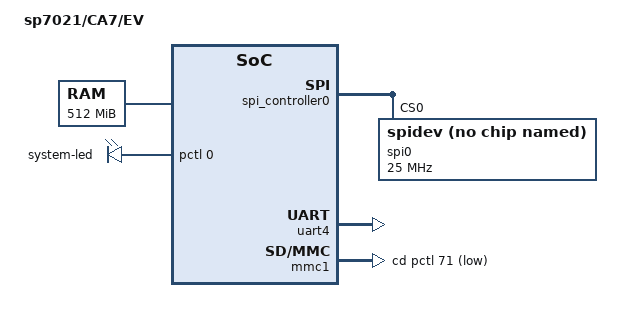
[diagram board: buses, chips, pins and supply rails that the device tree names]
/dts-v1/;

#include "sp7021-ChipC.dtsi"

/ {
	model = "sp7021/CA7/EV";

	chosen {
		bootargs = "console=ttyS0,115200 root=/dev/ram rw loglevel=8 user_debug=255 earlyprintk";
		stdout-path = "serial0:115200n8";
	};

	memory {
		reg = <0x00000000 0x20000000>; /* 512MB */
	};

	soc@B {
		led {
			compatible = "gpio-leds";
			pinctrl-names = "default";
			pinctrl-0 = <&gpio_leds_pins>;
			system-led {
				label = "system-led";
				gpios = <&pctl 0 GPIO_ACTIVE_HIGH>;
				default-state = "off";
				linux,default-trigger = "heartbeat";
			};
		};
	};
};

&i2cm0 {
	pinctrl-names = "default";
	pinctrl-0 = <&i2cm0_pins>;
};

&spi_controller0 {
	pinctrl-names = "default";
	pinctrl-0 = <&pins_spim0>;
	spi0: spi@ {
		compatible = "rohm,dh2228fv";
		reg = <0x0>;
		spi-max-frequency = <25000000>;
	};
};

&uart4 {
	pinctrl-names = "default";
	pinctrl-0 = <&pins_uart4>;
	status = "okay";
};

&sdio {
	pinctrl-names = "default";
	pinctrl-0 = <&pins_sdio>;
};

&l2sw {
	pinctrl-names = "default";
	pinctrl-0 = <&l2sw_two_phy_pins>;
};

&mmc0 {
	pinctrl-names = "default";
	pinctrl-0 = <&emmc_mux>;
};

&mmc1 {
	pinctrl-names = "default";
	pinctrl-0 = <&mmc1_mux &mmc1_mux_cd>;
	cd-gpios = <&pctl 71 GPIO_ACTIVE_LOW>;
	broken-cd;
};

&mipicsi0 {
	pinctrl-names = "default";
	pinctrl-0 = <&mipicsi0_pins>;
};

&pctl {
	pinctrl-names = "default";

	i2cm0_pins: i2cm0_pins {
		sppctl,pins = <
			SP7021_IOPAD(14,SP7021_PCTL_G_PMUX,MUXF_I2CM0_CLK,0)
			SP7021_IOPAD(15,SP7021_PCTL_G_PMUX,MUXF_I2CM0_DAT,0)
		>;
	};

	pins_spim0: pins_spim0 {
		sppctl,pins = <
			SP7021_IOPAD(8,SP7021_PCTL_G_PMUX,MUXF_SPIM0_INT,0)
			SP7021_IOPAD(9,SP7021_PCTL_G_PMUX,MUXF_SPIM0_CLK,0)
			SP7021_IOPAD(10,SP7021_PCTL_G_PMUX,MUXF_SPIM0_EN,0)
			SP7021_IOPAD(11,SP7021_PCTL_G_PMUX,MUXF_SPIM0_DO,0)
			SP7021_IOPAD(12,SP7021_PCTL_G_PMUX,MUXF_SPIM0_DI,0)
		>;
	};

	pins_uart4: pins_uart4 {
		sppctl,pins = <
			SP7021_IOPAD(16,SP7021_PCTL_G_PMUX,MUXF_UA4_TX,0)
			SP7021_IOPAD(18,SP7021_PCTL_G_PMUX,MUXF_UA4_RX,0)
			SP7021_IOPAD(20,SP7021_PCTL_G_PMUX,MUXF_UA4_RTS,0)
			SP7021_IOPAD(22,SP7021_PCTL_G_PMUX,MUXF_UA4_CTS,0)
		>;
	};

	l2sw_two_phy_pins: pinmux_l2sw_two_phy_pins {
		sppctl,pins = <
			SP7021_IOPAD(47,SP7021_PCTL_G_PMUX,MUXF_L2SW_CLK_OUT,0)
			SP7021_IOPAD(41,SP7021_PCTL_G_PMUX,MUXF_L2SW_MAC_SMI_MDC,0)
			SP7021_IOPAD(42,SP7021_PCTL_G_PMUX,MUXF_L2SW_LED_FLASH0,0)
			SP7021_IOPAD(30,SP7021_PCTL_G_PMUX,MUXF_L2SW_LED_FLASH1,0)
			SP7021_IOPAD(51,SP7021_PCTL_G_PMUX,MUXF_L2SW_LED_ON0,0)
			SP7021_IOPAD(39,SP7021_PCTL_G_PMUX,MUXF_L2SW_LED_ON1,0)
			SP7021_IOPAD(40,SP7021_PCTL_G_PMUX,MUXF_L2SW_MAC_SMI_MDIO,0)
			SP7021_IOPAD(50,SP7021_PCTL_G_PMUX,MUXF_L2SW_P0_MAC_RMII_TXEN,0)
			SP7021_IOPAD(48,SP7021_PCTL_G_PMUX,MUXF_L2SW_P0_MAC_RMII_TXD0,0)
			SP7021_IOPAD(49,SP7021_PCTL_G_PMUX,MUXF_L2SW_P0_MAC_RMII_TXD1,0)
			SP7021_IOPAD(44,SP7021_PCTL_G_PMUX,MUXF_L2SW_P0_MAC_RMII_CRSDV,0)
			SP7021_IOPAD(45,SP7021_PCTL_G_PMUX,MUXF_L2SW_P0_MAC_RMII_RXD0,0)
			SP7021_IOPAD(46,SP7021_PCTL_G_PMUX,MUXF_L2SW_P0_MAC_RMII_RXD1,0)
			SP7021_IOPAD(43,SP7021_PCTL_G_PMUX,MUXF_L2SW_P0_MAC_RMII_RXER,0)
			SP7021_IOPAD(38,SP7021_PCTL_G_PMUX,MUXF_L2SW_P1_MAC_RMII_TXEN,0)
			SP7021_IOPAD(36,SP7021_PCTL_G_PMUX,MUXF_L2SW_P1_MAC_RMII_TXD0,0)
			SP7021_IOPAD(37,SP7021_PCTL_G_PMUX,MUXF_L2SW_P1_MAC_RMII_TXD1,0)
			SP7021_IOPAD(32,SP7021_PCTL_G_PMUX,MUXF_L2SW_P1_MAC_RMII_CRSDV,0)
			SP7021_IOPAD(33,SP7021_PCTL_G_PMUX,MUXF_L2SW_P1_MAC_RMII_RXD0,0)
			SP7021_IOPAD(34,SP7021_PCTL_G_PMUX,MUXF_L2SW_P1_MAC_RMII_RXD1,0)
			SP7021_IOPAD(31,SP7021_PCTL_G_PMUX,MUXF_L2SW_P1_MAC_RMII_RXER,0)
		>;
		sppctl,zero_func = <
			MUXF_DAISY_MODE
		>;
	};

	l2sw_one_phy_pins: pinmux_l2sw_one_phy_pins {
		sppctl,pins = <
			SP7021_IOPAD(47,SP7021_PCTL_G_PMUX,MUXF_L2SW_CLK_OUT,0)
			SP7021_IOPAD(41,SP7021_PCTL_G_PMUX,MUXF_L2SW_MAC_SMI_MDC,0)
			SP7021_IOPAD(42,SP7021_PCTL_G_PMUX,MUXF_L2SW_LED_FLASH0,0)
			SP7021_IOPAD(51,SP7021_PCTL_G_PMUX,MUXF_L2SW_LED_ON0,0)
			SP7021_IOPAD(40,SP7021_PCTL_G_PMUX,MUXF_L2SW_MAC_SMI_MDIO,0)
			SP7021_IOPAD(50,SP7021_PCTL_G_PMUX,MUXF_L2SW_P0_MAC_RMII_TXEN,0)
			SP7021_IOPAD(48,SP7021_PCTL_G_PMUX,MUXF_L2SW_P0_MAC_RMII_TXD0,0)
			SP7021_IOPAD(49,SP7021_PCTL_G_PMUX,MUXF_L2SW_P0_MAC_RMII_TXD1,0)
			SP7021_IOPAD(44,SP7021_PCTL_G_PMUX,MUXF_L2SW_P0_MAC_RMII_CRSDV,0)
			SP7021_IOPAD(45,SP7021_PCTL_G_PMUX,MUXF_L2SW_P0_MAC_RMII_RXD0,0)
			SP7021_IOPAD(46,SP7021_PCTL_G_PMUX,MUXF_L2SW_P0_MAC_RMII_RXD1,0)
			SP7021_IOPAD(43,SP7021_PCTL_G_PMUX,MUXF_L2SW_P0_MAC_RMII_RXER,0)
		>;
		sppctl,zero_func = <
			MUXF_L2SW_LED_FLASH1
			MUXF_L2SW_LED_ON1
			MUXF_L2SW_P1_MAC_RMII_TXEN
			MUXF_L2SW_P1_MAC_RMII_TXD0
			MUXF_L2SW_P1_MAC_RMII_TXD1
			MUXF_L2SW_P1_MAC_RMII_CRSDV
			MUXF_L2SW_P1_MAC_RMII_RXD0
			MUXF_L2SW_P1_MAC_RMII_RXD1
			MUXF_L2SW_P1_MAC_RMII_RXER
			MUXF_DAISY_MODE
		>;
	};

	pins_sdio: pins_sdio {
		sppctl,pins = <
			SP7021_IOPAD(17,SP7021_PCTL_G_PMUX,MUXF_SDIO_D1,0)
			SP7021_IOPAD(19,SP7021_PCTL_G_PMUX,MUXF_SDIO_D0,0)
			SP7021_IOPAD(21,SP7021_PCTL_G_PMUX,MUXF_SDIO_CLK,0)
			SP7021_IOPAD(23,SP7021_PCTL_G_PMUX,MUXF_SDIO_CMD,0)
			SP7021_IOPAD(25,SP7021_PCTL_G_PMUX,MUXF_SDIO_D3,0)
			SP7021_IOPAD(27,SP7021_PCTL_G_PMUX,MUXF_SDIO_D2,0)
		>;
	};

	mmc1_mux_cd: mmc1_mux_cd {
		sppctl,pins = < SP7021_IOPAD(71,SP7021_PCTL_G_GPIO,0,0) >;
	};

	mipicsi0_pins: pinmux_mipicsi0_pins {
		sppctl,pins = <
			SP7021_IOPAD(11,SP7021_PCTL_G_PMUX,MUXF_I2CM1_DAT,0)
			SP7021_IOPAD(12,SP7021_PCTL_G_PMUX,MUXF_I2CM1_CLK,0)
		>;
	};

	gpio_leds_pins: pinmux_gpio_leds_pins {
		sppctl,pins = < SP7021_IOPAD(0,SP7021_PCTL_G_GPIO,0,SP7021_PCTL_L_OUT) >;
	};
};
